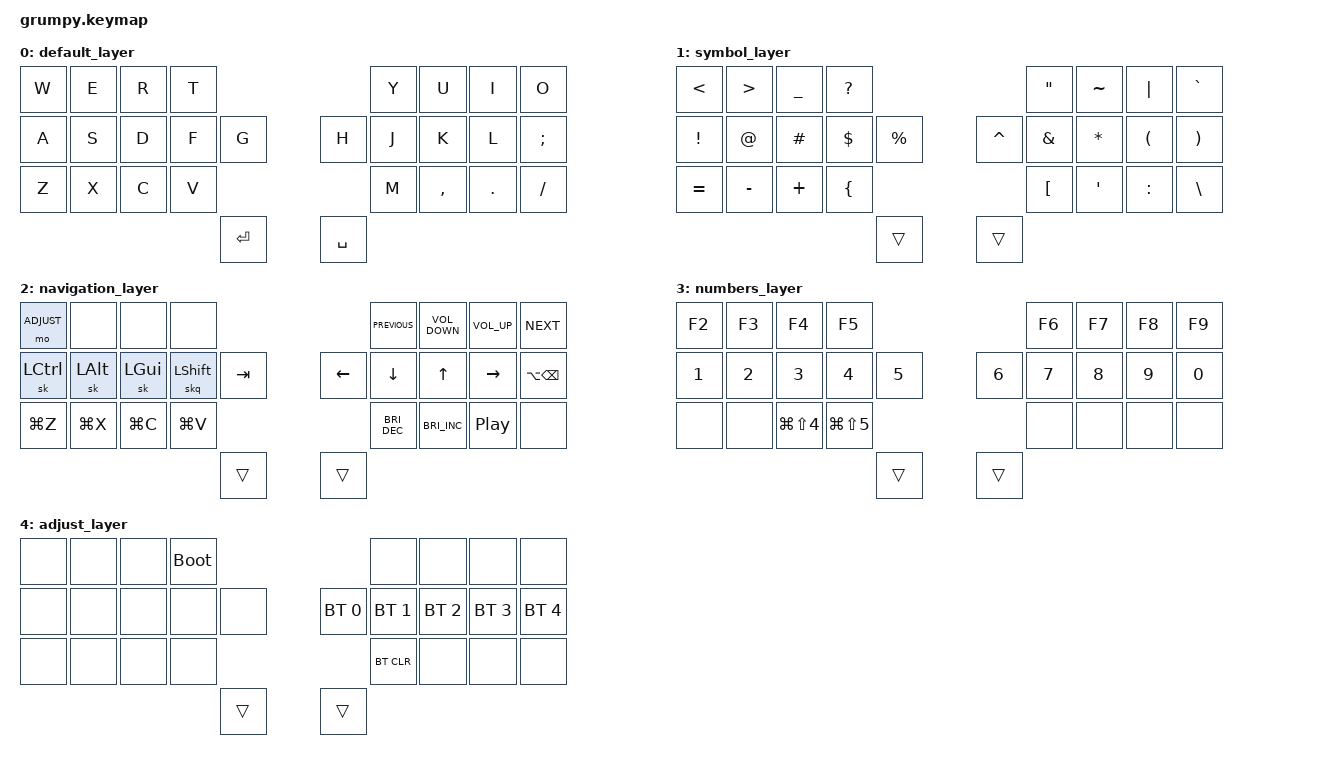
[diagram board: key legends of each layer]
#include <behaviors.dtsi>
#include <dt-bindings/zmk/keys.h>
#include <dt-bindings/zmk/bt.h>
#include <dt-bindings/zmk/outputs.h>

#define DEFAULT 0
#define SYMBOLS 1
#define NAVIGATION 2
#define NUMBERS 3
#define ADJUST 4

#define CHAR_W 0
#define CHAR_E 1
#define CHAR_R 2
#define CHAR_U 5
#define CHAR_I 6
#define CHAR_A 8
#define CHAR_S 9
#define CHAR_D 10
#define CHAR_C 20
#define CHAR_V 21
#define CHAR_M 22
#define CHAR_COMMA 23
#define CHAR_SEMICOLON 17
#define CHAR_Z 18
#define CHAR_BACKSLASH 25

//   ____________________________  ____________________________
//  /       0 - w  |  1 - e  |  2 - r  |  3 - t  \/   4 - y |   5 - u |   6 - i |   7 - o      \
// |  8 - a  |  9 - s  | 10 - d  | 11 - f  | 12 - g  /\  13 - h |  14 - j |  15 - k |  16 - l | 17 - ;  |
// | 18 - z  | 19 - x  | 20 - c  | 21 - v       /  \       22 - m |  23 - , |  24 - . | 25 - /  |
//                      \  26  /    \  27  /
//                       ------      ------


// &lt {
//     quick_tap_ms = <170>;
// };

&caps_word {
    continue-list = <UNDERSCORE MINUS BSPC LSHFT RSHFT>;
};

#define COMBO(NAME, BINDINGS, KEYPOS, TIMEOUT, LAYERS) \
combo_##NAME { \
    timeout-ms = <TIMEOUT>; \
    bindings = <BINDINGS>; \
    key-positions = <KEYPOS>; \
    require-prior-idle-ms = <110>; \
    layers = <LAYERS>; \
};

#define DOUBLE_TAP(NAME, BINDINGS ) \
double_tap_##NAME: double_tap_key_##NAME { \
    compatible = "zmk,behavior-tap-dance"; \
    #binding-cells = <0>; \
    tapping-term-ms = <200>; \
    bindings = <BINDINGS>; \
};

/ {
    combos {
        compatible = "zmk,combos";
        COMBO(sqt, &kp SQT, CHAR_W CHAR_E, 15, DEFAULT SYMBOLS NAVIGATION NUMBERS ADJUST)
        COMBO(esc, &kp ESC, CHAR_E CHAR_R, 15, DEFAULT SYMBOLS NAVIGATION NUMBERS ADJUST)
        COMBO(caps_word, &caps_word, CHAR_Z CHAR_BACKSLASH, 50, DEFAULT SYMBOLS NAVIGATION NUMBERS ADJUST)
        COMBO(bspc, &kp BSPC, CHAR_U CHAR_I, 50, DEFAULT SYMBOLS NAVIGATION NUMBERS ADJUST)
        COMBO(rbrc, &kp RBRC, CHAR_C CHAR_V, 50, SYMBOLS NAVIGATION)
        COMBO(rbkt, &kp RBKT, CHAR_M CHAR_COMMA, 50, SYMBOLS NAVIGATION)
        COMBO(tmux_prefix, &kp LC(S), CHAR_A CHAR_S, 15, DEFAULT)
        COMBO(tmux_session_prefix, &kp LA(S), CHAR_S CHAR_D, 15, DEFAULT)
    };
};


/ {
    behaviors {
        /*DOUBLE_TAP(key_a, &kp A &kp Q) */
        /*DOUBLE_TAP(key_semi, &kp SEMI &kp P) */
        /*DOUBLE_TAP(key_g, &kp G &kp B) */
        /*DOUBLE_TAP(key_h, &kp H &kp N) */
        /*DOUBLE_TAP(key_space, &kp SPACE &mo NAVIGATION) */
        /*DOUBLE_TAP(key_enter, &kp ENTER &mo SYMBOLS) */
        isk: intuitive_sk {
            compatible = "zmk,behavior-hold-tap";
            #binding-cells = <2>;
            flavor = "balanced";
            tapping-term-ms = <200>;
            bindings = <&kp>, <&sk>;
        };
        skq: sticky_key_quick_release {
            compatible = "zmk,behavior-sticky-key";
            #binding-cells = <1>;
            bindings = <&kp>;
            release-after-ms = <1000>;
            quick-release;
        };
    };
};

/ {
    conditional_layers {
        compatible = "zmk,conditional-layers";
        tri_layer {
            if-layers = <SYMBOLS NAVIGATION>;
            then-layer = <NUMBERS>;
        };
    };
};
        //default_layer {
        //    bindings = <
        //                          &kp W &kp E &kp R  &kp T              &kp Y              &kp U &kp I &kp O
        //        &double_tap_key_a &kp S &kp D &kp F  &double_tap_key_g  &double_tap_key_h  &kp J &kp K &kp L   &double_tap_key_semi
        //        &kp Z             &kp X &kp C &kp V                     &kp M              &kp COMMA   &kp DOT &kp SLASH
        //                          &double_tap_key_enter                 &double_tap_key_space
        //    >;
        //};

/ {

    keymap {
        compatible = "zmk,keymap";

        default_layer {
            bindings = <
                                  &kp W &kp E &kp R  &kp T              &kp Y &kp U       &kp I   &kp O
                &kp A &kp S &kp D &kp F  &kp G                          &kp H &kp J       &kp K   &kp L     &kp SEMI
                &kp Z             &kp X &kp C &kp V                     &kp M &kp COMMA   &kp DOT &kp SLASH
                                  &kp ENTER &kp SPACE
            >;
        };

        symbol_layer {
            bindings = <
                          &kp LT    &kp GT   &kp UNDER &kp QMARK    &kp DQT   &kp TILDE &kp PIPE    &kp GRAVE
                &kp EXCL  &kp AT    &kp HASH &kp DLLR  &kp PRCNT    &kp CARET &kp AMPS &kp ASTERISK &kp LPAR  &kp RPAR
                &kp EQUAL &kp MINUS &kp PLUS &kp LBRC                         &kp LBKT &kp SQT      &kp COLON &kp BSLH
                                             &trans                           &trans
            >;
        };

        navigation_layer {
            bindings = <
                           &mo ADJUST &none    &none       &none           &kp C_PREVIOUS &kp C_VOLUME_DOWN    &kp C_VOLUME_UP      &kp C_NEXT
                &sk LCTRL  &sk LALT  &sk LGUI  &skq LSHIFT &kp TAB         &kp LEFT       &kp DOWN             &kp UP               &kp RIGHT         &kp LA(BSPC)
                &kp LG(Z)  &kp LG(X) &kp LG(C) &kp LG(V)                                  &kp C_BRIGHTNESS_DEC &kp C_BRIGHTNESS_INC &kp C_PLAY_PAUSE  &none
                                               &trans                                     &trans
            >;
        };

        numbers_layer {
            bindings = <
                       &kp F2 &kp F3         &kp F4         &kp F5        &kp F6  &kp F7  &kp F8  &kp F9
                &kp N1 &kp N2 &kp N3         &kp N4         &kp N5        &kp N6  &kp N7  &kp N8  &kp N9  &kp N0
                &none  &none  &kp LG(LS(N4)) &kp LG(LS(N5))                       &none   &none   &none   &none
                                             &trans                               &trans

            >;
        };

        adjust_layer {
            bindings = <
                   &none  &none  &none   &bootloader       &none        &none        &none        &none
            &none  &none  &none  &none   &none             &bt BT_SEL 0 &bt BT_SEL 1 &bt BT_SEL 2 &bt BT_SEL 3 &bt BT_SEL 4
            &none  &none  &none  &none                                  &bt BT_CLR   &none        &none        &none
                                 &trans                                 &trans
            >;
        };

    };
};
